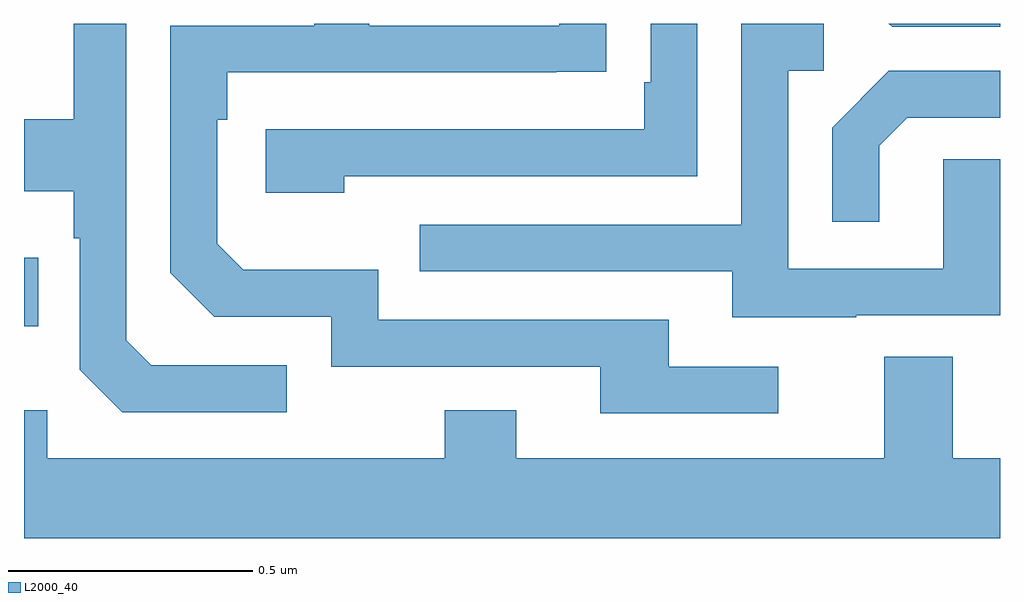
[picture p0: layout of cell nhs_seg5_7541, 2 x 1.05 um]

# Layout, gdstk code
import gdstk
lib = gdstk.Library(unit=1e-6, precision=1e-09)
def R(c, l, rs):  # rectangles x0, y0, x1, y1
    for r in rs: c.add(gdstk.rectangle(r[:2], r[2:], *l))
def P(c, l, *ps):  # polygons
    for p in ps: c.add(gdstk.Polygon(p, *l))
L2000_40 = (2000, 40)

nhs_seg5_7541 = lib.new_cell('nhs_seg5_7541')
R(nhs_seg5_7541, L2000_40, [(210,873.179,210.029,873.319)])
P(nhs_seg5_7541, L2000_40, [(210.656,873.486),(211.38,873.486),(211.38,873.799),(211.284,873.799),(211.284,873.679),(211.271,873.679),(211.271,873.582),(210.495,873.582),(210.495,873.452),(210.656,873.452)],
  [(212,873.799),(211.772,873.799),(211.779,873.792),(212,873.792)],
  [(210.538,873.099),(210.261,873.099),(210.21,873.15),(210.21,873.799),(210.102,873.799),(210.102,873.603),(210,873.603),(210,873.455),(210.102,873.455),(210.102,873.359),(210.114,873.359),(210.114,873.09),(210.201,873.003),(210.538,873.003)],
  [(211.546,873.096),(211.321,873.096),(211.321,873.192),(210.726,873.192),(210.726,873.295),(210.449,873.295),(210.396,873.348),(210.396,873.602),(210.416,873.602),(210.416,873.699),(211.091,873.699),(211.091,873.7),(211.193,873.7),(211.193,873.799),(211.097,873.799),(211.097,873.795),(210.707,873.795),(210.707,873.799),(210.595,873.799),(210.595,873.795),(210.3,873.795),(210.3,873.288),(210.39,873.198),(210.63,873.198),(210.63,873.096),(211.181,873.096),(211.181,873),(211.546,873)],
  [(211.705,873.201),(212,873.201),(212,873.521),(211.884,873.521),(211.884,873.297),(211.566,873.297),(211.566,873.702),(211.639,873.702),(211.639,873.799),(211.47,873.799),(211.47,873.387),(210.811,873.387),(210.811,873.291),(211.451,873.291),(211.451,873.197),(211.705,873.197)],
  [(211.753,873.549),(211.81,873.606),(212,873.606),(212,873.702),(211.772,873.702),(211.656,873.586),(211.656,873.393),(211.753,873.393)],
  [(212,872.908),(211.903,872.908),(211.903,873.116),(211.763,873.116),(211.763,872.908),(211.009,872.908),(211.009,873.007),(210.862,873.007),(210.862,872.908),(210.048,872.908),(210.048,873.007),(210,873.007),(210,872.744),(212,872.744)])

lib.write_gds('nhs_seg5_7541.gds')
